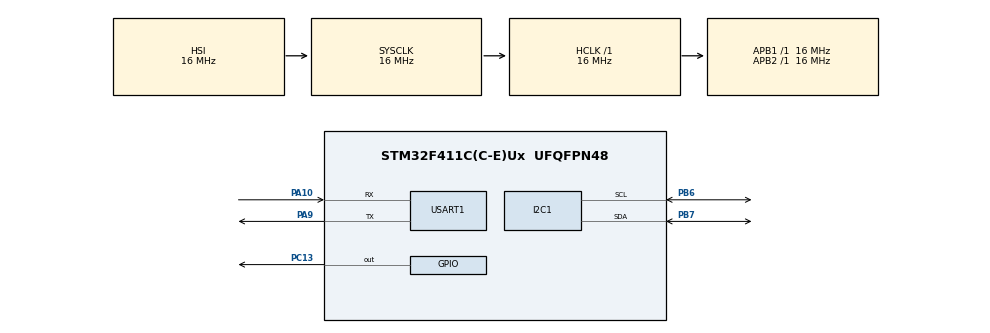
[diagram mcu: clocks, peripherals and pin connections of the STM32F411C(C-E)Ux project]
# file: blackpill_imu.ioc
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Mcu.Family=STM32F4
Mcu.Name=STM32F411C(C-E)Ux
Mcu.Package=UFQFPN48
NVIC.PriorityGroup=NVIC_PRIORITYGROUP_4
NVIC.USART1_IRQn=true\:0\:0\:false\:false\:true\:true\:true\:true
PA10.Mode=Asynchronous
PA10.Signal=USART1_RX
PA9.Mode=Asynchronous
PA9.Signal=USART1_TX
PB6.Mode=I2C
PB6.Signal=I2C1_SCL
PB7.Mode=I2C
PB7.Signal=I2C1_SDA
PC13-ANTI_TAMP.Signal=GPIO_Output
PC14-OSC32_IN.Mode=LSE-External-Oscillator
PC14-OSC32_IN.Signal=RCC_OSC32_IN
PC15-OSC32_OUT.Mode=LSE-External-Oscillator
PC15-OSC32_OUT.Signal=RCC_OSC32_OUT
PH0\ -\ OSC_IN.Mode=HSE-External-Oscillator
PH0\ -\ OSC_IN.Signal=RCC_OSC_IN
PH1\ -\ OSC_OUT.Mode=HSE-External-Oscillator
PH1\ -\ OSC_OUT.Signal=RCC_OSC_OUT
ProjectManager.HeapSize=0x200
ProjectManager.StackSize=0x400
ProjectManager.TargetToolchain=Makefile
RCC.AHBFreq_Value=16000000
RCC.APB1Freq_Value=16000000
RCC.APB2Freq_Value=16000000
RCC.CortexFreq_Value=16000000
RCC.HSE_VALUE=25000000
RCC.HSI_VALUE=16000000
RCC.SYSCLKFreq_VALUE=16000000
RCC.VCOOutputFreq_Value=192000000
USART1.VirtualMode=VM_ASYNC
board=custom

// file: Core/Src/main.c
/* USER CODE BEGIN Header */
/**
  ******************************************************************************
  * @file           : main.c
  * @brief          : Main program body
  ******************************************************************************
  * @attention
  *
  * Copyright (c) 2023 STMicroelectronics.
  * All rights reserved.
  *
  * This software is licensed under terms that can be found in the LICENSE file
  * in the root directory of this software component.
  * If no LICENSE file comes with this software, it is provided AS-IS.
  *
  ******************************************************************************
  */
/* USER CODE END Header */
#include "main.h"
#include "cam_lsm303.h"

/* USER CODE BEGIN Includes */
#include <string.h>
#include <stdio.h>
#include <stdint.h>
#include <stdlib.h>

/* USER CODE END Includes */

I2C_HandleTypeDef hi2c1;

UART_HandleTypeDef huart1;

/* USER CODE BEGIN PV */
const char *welcome_message = "hi! ʕ •ᴥ•ʔ. this is a LSM303 accelerometer test program!\r\n";
cam_logger logger = {};
cam_lsm303 lsm303 = {};
char accel_message[256];

/* USER CODE END PV */

void SystemClock_Config(void);
static void MX_GPIO_Init(void);
static void MX_USART1_UART_Init(void);
static void MX_I2C1_Init(void);

int main(void)
{

  /* MCU Configuration--------------------------------------------------------*/

  /* Reset of all peripherals, Initializes the Flash interface and the Systick. */
  HAL_Init();

  /* Configure the system clock */
  SystemClock_Config();

  /* Initialize all configured peripherals */
  MX_GPIO_Init();
  MX_USART1_UART_Init();
  MX_I2C1_Init();
  /* USER CODE BEGIN 2 */

  cam_logger_init(&logger, &huart1);
  cam_lsm303_init(&lsm303, &hi2c1, &logger, CAM_LSM303_MODE_HIGH, CAM_LSM303_RANGE_2);

  /* USER CODE END 2 */

  /* Infinite loop */
  /* USER CODE BEGIN WHILE */
  HAL_UART_Transmit(&huart1, (uint8_t*) welcome_message, strlen(welcome_message), 1000);
  HAL_Delay(1000);
  while (1)
  {
    HAL_GPIO_WritePin(GPIOC, GPIO_PIN_13, GPIO_PIN_SET);

    cam_lsm303_accel_data event_data;
    cam_lsm303_get_event(&lsm303, &event_data);

    snprintf(accel_message, sizeof(accel_message), "x=%d.%d, y=%d.%d, z=%d.%d\r\n",
      (int) event_data.x, abs((int) (event_data.x * 1000)) % 1000,
      (int) event_data.y, abs((int) (event_data.y * 1000)) % 1000,
      (int) event_data.z, abs((int) (event_data.z * 1000)) % 1000);
    HAL_UART_Transmit(&huart1, (uint8_t*) accel_message, strlen(accel_message), 1000);

    HAL_Delay(50);
    HAL_GPIO_WritePin(GPIOC, GPIO_PIN_13, GPIO_PIN_RESET);
    HAL_Delay(50);

    /* USER CODE END WHILE */

  }
}

void SystemClock_Config(void)
{
  RCC_OscInitTypeDef RCC_OscInitStruct = {0};
  RCC_ClkInitTypeDef RCC_ClkInitStruct = {0};

  /** Configure the main internal regulator output voltage
  */
  __HAL_RCC_PWR_CLK_ENABLE();
  __HAL_PWR_VOLTAGESCALING_CONFIG(PWR_REGULATOR_VOLTAGE_SCALE1);

  /** Initializes the RCC Oscillators according to the specified parameters
  * in the RCC_OscInitTypeDef structure.
  */
  RCC_OscInitStruct.OscillatorType = RCC_OSCILLATORTYPE_HSI;
  RCC_OscInitStruct.HSIState = RCC_HSI_ON;
  RCC_OscInitStruct.HSICalibrationValue = RCC_HSICALIBRATION_DEFAULT;
  RCC_OscInitStruct.PLL.PLLState = RCC_PLL_NONE;
  if (HAL_RCC_OscConfig(&RCC_OscInitStruct) != HAL_OK)
  {
    Error_Handler();
  }

  /** Initializes the CPU, AHB and APB buses clocks
  */
  RCC_ClkInitStruct.ClockType = RCC_CLOCKTYPE_HCLK|RCC_CLOCKTYPE_SYSCLK
                              |RCC_CLOCKTYPE_PCLK1|RCC_CLOCKTYPE_PCLK2;
  RCC_ClkInitStruct.SYSCLKSource = RCC_SYSCLKSOURCE_HSI;
  RCC_ClkInitStruct.AHBCLKDivider = RCC_SYSCLK_DIV1;
  RCC_ClkInitStruct.APB1CLKDivider = RCC_HCLK_DIV1;
  RCC_ClkInitStruct.APB2CLKDivider = RCC_HCLK_DIV1;

  if (HAL_RCC_ClockConfig(&RCC_ClkInitStruct, FLASH_LATENCY_0) != HAL_OK)
  {
    Error_Handler();
  }
}

static void MX_I2C1_Init(void)
{

  hi2c1.Instance = I2C1;
  hi2c1.Init.ClockSpeed = 100000;
  hi2c1.Init.DutyCycle = I2C_DUTYCYCLE_2;
  hi2c1.Init.OwnAddress1 = 0;
  hi2c1.Init.AddressingMode = I2C_ADDRESSINGMODE_7BIT;
  hi2c1.Init.DualAddressMode = I2C_DUALADDRESS_DISABLE;
  hi2c1.Init.OwnAddress2 = 0;
  hi2c1.Init.GeneralCallMode = I2C_GENERALCALL_DISABLE;
  hi2c1.Init.NoStretchMode = I2C_NOSTRETCH_DISABLE;
  if (HAL_I2C_Init(&hi2c1) != HAL_OK)
  {
    Error_Handler();
  }

}

static void MX_USART1_UART_Init(void)
{

  huart1.Instance = USART1;
  huart1.Init.BaudRate = 115200;
  huart1.Init.WordLength = UART_WORDLENGTH_8B;
  huart1.Init.StopBits = UART_STOPBITS_1;
  huart1.Init.Parity = UART_PARITY_NONE;
  huart1.Init.Mode = UART_MODE_TX_RX;
  huart1.Init.HwFlowCtl = UART_HWCONTROL_NONE;
  huart1.Init.OverSampling = UART_OVERSAMPLING_16;
  if (HAL_UART_Init(&huart1) != HAL_OK)
  {
    Error_Handler();
  }

}

static void MX_GPIO_Init(void)
{
  GPIO_InitTypeDef GPIO_InitStruct = {0};

  /* GPIO Ports Clock Enable */
  __HAL_RCC_GPIOC_CLK_ENABLE();
  __HAL_RCC_GPIOH_CLK_ENABLE();
  __HAL_RCC_GPIOA_CLK_ENABLE();
  __HAL_RCC_GPIOB_CLK_ENABLE();

  /*Configure GPIO pin Output Level */
  HAL_GPIO_WritePin(GPIOC, GPIO_PIN_13, GPIO_PIN_RESET);

  /*Configure GPIO pin : PC13 */
  GPIO_InitStruct.Pin = GPIO_PIN_13;
  GPIO_InitStruct.Mode = GPIO_MODE_OUTPUT_PP;
  GPIO_InitStruct.Pull = GPIO_NOPULL;
  GPIO_InitStruct.Speed = GPIO_SPEED_FREQ_LOW;
  HAL_GPIO_Init(GPIOC, &GPIO_InitStruct);

}

void Error_Handler(void)
{
  __disable_irq();
  while (1)
  {
  }
}
